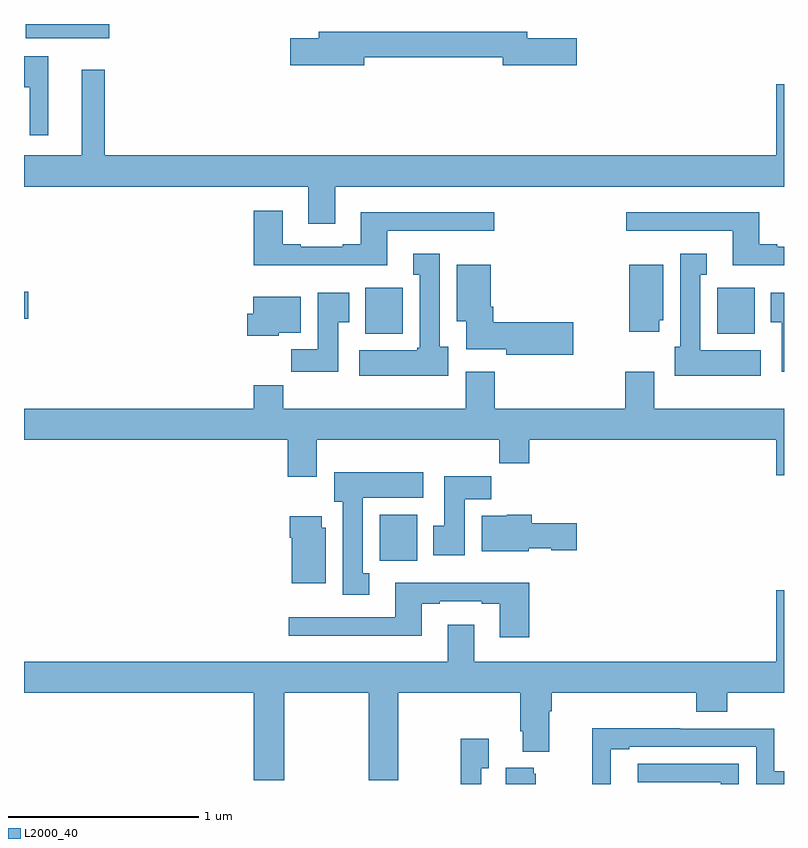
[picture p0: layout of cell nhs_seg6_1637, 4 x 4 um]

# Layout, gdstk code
import gdstk
lib = gdstk.Library(unit=1e-6, precision=1e-09)
def R(c, l, rs):  # rectangles x0, y0, x1, y1
    for r in rs: c.add(gdstk.rectangle(r[:2], r[2:], *l))
def P(c, l, *ps):  # polygons
    for p in ps: c.add(gdstk.Polygon(p, *l))
L2000_40 = (2000, 40)

nhs_seg6_1637 = lib.new_cell('nhs_seg6_1637')
R(nhs_seg6_1637, L2000_40, [(210.872,970.676,211.069,970.918), (210.797,971.87,210.994,972.112), (212.648,971.87,212.845,972.112), (209,971.95,209.023,972.092), (209.01,973.424,209.449,973.5)])
P(nhs_seg6_1637, L2000_40, [(210.79,973.324),(211.52,973.324),(211.52,973.282),(211.909,973.282),(211.909,973.424),(211.648,973.424),(211.648,973.46),(210.551,973.46),(210.551,973.424),(210.402,973.424),(210.402,973.282),(210.79,973.282)],
  [(209.128,973.33),(209,973.33),(209,973.166),(209.03,973.166),(209.03,972.915),(209.128,972.915)],
  [(210.637,972.644),(213,972.644),(213,973.183),(212.96,973.183),(212.96,972.808),(209.425,972.808),(209.425,973.258),(209.303,973.258),(209.303,972.808),(209,972.808),(209,972.644),(210.497,972.644),(210.497,972.45),(210.637,972.45)],
  [(210.913,972.411),(211.474,972.411),(211.474,972.508),(210.773,972.508),(210.773,972.34),(210.677,972.34),(210.677,972.327),(210.457,972.327),(210.457,972.34),(210.361,972.34),(210.361,972.517),(210.209,972.517),(210.209,972.23),(210.913,972.23)],
  [(213,972.327),(212.965,972.327),(212.965,972.34),(212.869,972.34),(212.869,972.508),(212.169,972.508),(212.169,972.411),(212.729,972.411),(212.729,972.23),(213,972.23)],
  [(212.878,971.782),(212.56,971.782),(212.56,972.179),(212.593,972.179),(212.593,972.292),(212.453,972.292),(212.453,971.802),(212.426,971.802),(212.426,971.648),(212.878,971.648)],
  [(211.234,971.802),(211.189,971.802),(211.189,972.292),(211.049,972.292),(211.049,972.179),(211.082,972.179),(211.082,971.796),(211.069,971.796),(211.069,971.782),(210.765,971.782),(210.765,971.648),(211.234,971.648)],
  [(211.891,971.93),(211.469,971.93),(211.469,972.013),(211.456,972.013),(211.456,972.232),(211.277,972.232),(211.277,971.936),(211.328,971.936),(211.328,971.789),(211.538,971.789),(211.538,971.759),(211.891,971.759)],
  [(212.344,971.94),(212.365,971.94),(212.365,972.232),(212.186,972.232),(212.186,971.88),(212.344,971.88)],
  [(210.655,971.929),(210.712,971.929),(210.712,972.085),(210.545,972.085),(210.545,971.788),(210.406,971.788),(210.406,971.67),(210.655,971.67)],
  [(213,972.085),(212.93,972.085),(212.93,971.929),(212.987,971.929),(212.987,971.67),(213,971.67)],
  [(210.342,971.876),(210.457,971.876),(210.457,972.064),(210.206,972.064),(210.206,971.976),(210.176,971.976),(210.176,971.858),(210.342,971.858)],
  [(210.541,971.312),(211.501,971.312),(211.501,971.188),(211.658,971.188),(211.658,971.312),(212.96,971.312),(212.96,971.124),(213,971.124),(213,971.476),(212.317,971.476),(212.317,971.671),(212.165,971.671),(212.165,971.476),(211.478,971.476),(211.478,971.671),(211.325,971.671),(211.325,971.476),(210.365,971.476),(210.365,971.6),(210.209,971.6),(210.209,971.476),(209,971.476),(209,971.312),(210.389,971.312),(210.389,971.118),(210.541,971.118)],
  [(210.817,970.61),(210.784,970.61),(210.784,971.006),(211.102,971.006),(211.102,971.14),(210.632,971.14),(210.632,970.986),(210.677,970.986),(210.677,970.497),(210.817,970.497)],
  [(211.321,971),(211.46,971),(211.46,971.119),(211.211,971.119),(211.211,970.86),(211.154,970.86),(211.154,970.704),(211.321,970.704)],
  [(211.656,970.742),(211.776,970.742),(211.776,970.73),(211.909,970.73),(211.909,970.872),(211.673,970.872),(211.673,970.918),(211.542,970.918),(211.542,970.912),(211.409,970.912),(211.409,970.724),(211.656,970.724)],
  [(210.589,970.848),(210.568,970.848),(210.568,970.909),(210.398,970.909),(210.398,970.796),(210.41,970.796),(210.41,970.556),(210.589,970.556)],
  [(211.658,970.558),(210.953,970.558),(210.953,970.377),(210.393,970.377),(210.393,970.28),(211.093,970.28),(211.093,970.449),(211.189,970.449),(211.189,970.461),(211.409,970.461),(211.409,970.449),(211.505,970.449),(211.505,970.272),(211.658,970.272)],
  [(210.369,969.98),(210.814,969.98),(210.814,969.519),(210.969,969.519),(210.969,969.98),(211.613,969.98),(211.613,969.778),(211.625,969.778),(211.625,969.671),(211.765,969.671),(211.765,969.884),(211.778,969.884),(211.778,969.98),(212.537,969.98),(212.537,969.881),(212.702,969.881),(212.702,969.98),(213,969.98),(213,970.519),(212.96,970.519),(212.96,970.144),(211.369,970.144),(211.369,970.339),(211.229,970.339),(211.229,970.144),(209,970.144),(209,969.98),(210.209,969.98),(210.209,969.519),(210.369,969.519)],
  [(212.088,969.684),(212.185,969.684),(212.185,969.696),(212.853,969.696),(212.853,969.5),(213,969.5),(213,969.567),(212.949,969.567),(212.949,969.792),(212.453,969.792),(212.453,969.794),(211.99,969.794),(211.99,969.5),(212.088,969.5)],
  [(211.407,969.583),(211.447,969.583),(211.447,969.739),(211.299,969.739),(211.299,969.5),(211.407,969.5)],
  [(212.763,969.606),(212.229,969.606),(212.229,969.51),(212.667,969.51),(212.667,969.5),(212.763,969.5)],
  [(211.693,969.555),(211.682,969.555),(211.682,969.586),(211.535,969.586),(211.535,969.5),(211.693,969.5)])

lib.write_gds('nhs_seg6_1637.gds')
